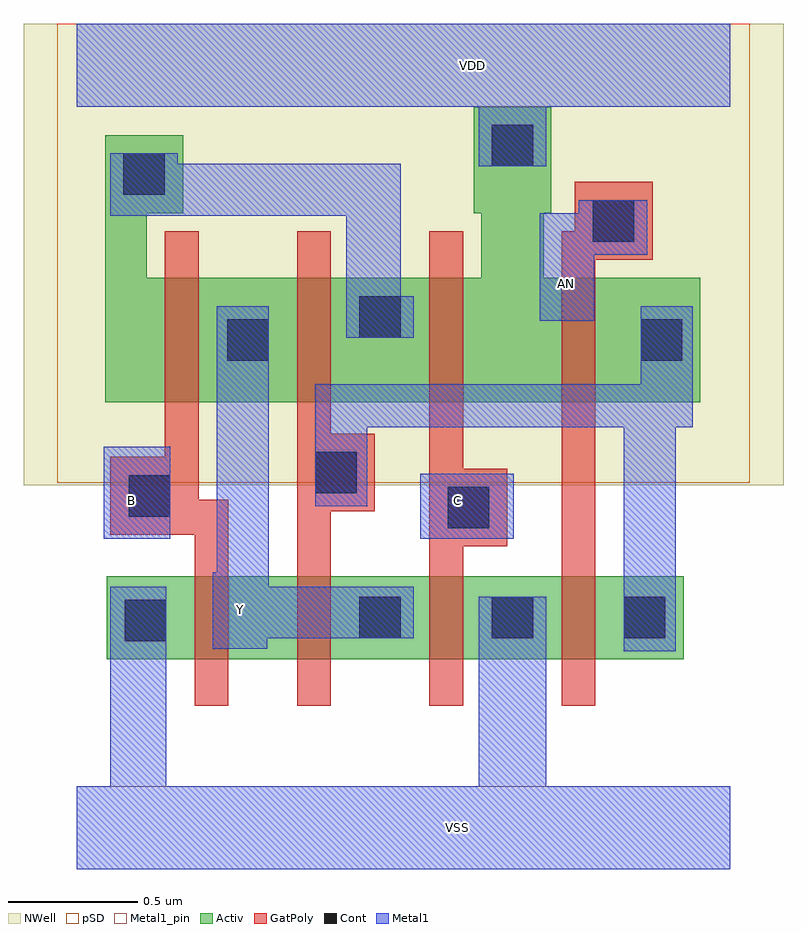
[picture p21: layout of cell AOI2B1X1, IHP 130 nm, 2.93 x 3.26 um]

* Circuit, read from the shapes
.subckt AOI2B1X1 AN B C VDD VSS Y
XM1 n1 B VSS VSUBS sg13_lv_nmos w=0.32u l=0.13u
XM2 Y n2 n1 VSUBS sg13_lv_nmos w=0.32u l=0.13u
XM3 VSS C Y VSUBS sg13_lv_nmos w=0.32u l=0.13u
XM4 n2 AN VSS VSUBS sg13_lv_nmos w=0.32u l=0.13u
XM5 Y B n3 n4 sg13_lv_pmos w=0.48u l=0.13u
XM6 n3 n2 Y n4 sg13_lv_pmos w=0.48u l=0.13u
XM7 VDD C n3 n4 sg13_lv_pmos w=0.48u l=0.13u
XM8 n2 AN VDD n4 sg13_lv_pmos w=0.48u l=0.13u
.ends

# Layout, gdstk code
import gdstk
lib = gdstk.Library(unit=1e-6, precision=1e-09)
def R(c, l, rs):  # rectangles x0, y0, x1, y1
    for r in rs: c.add(gdstk.rectangle(r[:2], r[2:], *l))
def A(c, l, x, y, w, h, nx, ny, dx, dy):  # array of equal rectangles
    R(c, l, [(x+i*dx, y+j*dy, x+i*dx+w, y+j*dy+h) for i in range(nx) for j in range(ny)])
def P(c, l, *ps):  # polygons
    for p in ps: c.add(gdstk.Polygon(p, *l))
Activ = (1, 0)
GatPoly = (5, 0)
Cont = (6, 0)
Metal1 = (8, 0)
Metal1_pin = (8, 2)
pSD = (14, 0)
NWell = (31, 0)

aoi2b1x1 = lib.new_cell('AOI2B1X1')
R(aoi2b1x1, Activ, [(0.115,0.65,2.34,0.97)])
P(aoi2b1x1, Activ, [(0.11,1.64),(0.11,2.67),(0.41,2.67),(0.41,2.37),(0.27,2.37),(0.27,2.12),(1.56,2.12),(1.56,2.37),(1.53,2.37),(1.53,2.78),(1.83,2.78),(1.83,2.37),(1.8,2.37),(1.8,2.12),(2.405,2.12),(2.405,1.64)])
P(aoi2b1x1, GatPoly, [(1.87,0.47),(1.87,2.3),(1.92,2.3),(1.92,2.49),(2.22,2.49),(2.22,2.19),(2,2.19),(2,0.47)],
  [(1.36,0.47),(1.36,2.3),(1.49,2.3),(1.49,1.385),(1.66,1.385),(1.66,1.085),(1.49,1.085),(1.49,0.47)],
  [(0.85,0.47),(0.85,2.3),(0.98,2.3),(0.98,1.52),(1.15,1.52),(1.15,1.22),(0.98,1.22),(0.98,0.47)],
  [(0.455,0.47),(0.455,1.13),(0.13,1.13),(0.13,1.43),(0.34,1.43),(0.34,2.3),(0.47,2.3),(0.47,1.265),(0.585,1.265),(0.585,0.47)])
A(aoi2b1x1, Cont, 1.09, 0.73, 0.16, 0.16, 3, 1, 0.51, 0)
R(aoi2b1x1, Cont, [(0.185,0.72,0.345,0.88), (1.43,1.155,1.59,1.315), (0.2,1.2,0.36,1.36), (0.92,1.29,1.08,1.45), (0.58,1.8,0.74,1.96), (2.175,1.8,2.335,1.96), (1.09,1.89,1.25,2.05), (1.99,2.26,2.15,2.42), (0.18,2.44,0.34,2.6), (1.6,2.55,1.76,2.71)])
R(aoi2b1x1, Metal1, [(0.105,1.115,0.36,1.47), (1.325,1.115,1.685,1.365)])
P(aoi2b1x1, Metal1, [(1.55,2.55),(1.55,2.78),(0,2.78),(0,3.1),(2.52,3.1),(2.52,2.78),(1.81,2.78),(1.81,2.55)],
  [(2.11,0.68),(2.11,1.545),(1.12,1.545),(1.12,1.24),(0.92,1.24),(0.92,1.71),(2.175,1.71),(2.175,2.01),(2.375,2.01),(2.375,1.545),(2.31,1.545),(2.31,0.68)],
  [(1.785,1.955),(1.785,2.37),(1.935,2.37),(1.935,2.42),(2.2,2.42),(2.2,2.21),(1.995,2.21),(1.995,1.955)],
  [(0.525,0.69),(0.525,0.985),(0.54,0.985),(0.54,2.01),(0.74,2.01),(0.74,0.93),(1.3,0.93),(1.3,0.73),(0.735,0.73),(0.735,0.69)],
  [(0,-0.16),(0,0.16),(0.13,0.16),(0.13,0.93),(0.345,0.93),(0.345,0.16),(1.55,0.16),(1.55,0.89),(1.81,0.89),(1.81,0.16),(2.52,0.16),(2.52,-0.16)],
  [(1.04,1.89),(1.04,2.36),(0.13,2.36),(0.13,2.6),(0.39,2.6),(0.39,2.56),(1.25,2.56),(1.25,2.05),(1.3,2.05),(1.3,1.89)])
R(aoi2b1x1, Metal1_pin, [(0,-0.16,2.52,0.16), (0.105,1.115,0.36,1.47), (1.325,1.115,1.685,1.365), (0,2.78,2.52,3.1)])
P(aoi2b1x1, Metal1_pin, [(1.785,1.955),(1.785,2.37),(1.935,2.37),(1.935,2.42),(2.2,2.42),(2.2,2.21),(1.995,2.21),(1.995,1.955)],
  [(0.525,0.69),(0.525,0.985),(0.54,0.985),(0.54,2.01),(0.74,2.01),(0.74,0.93),(1.3,0.93),(1.3,0.73),(0.735,0.73),(0.735,0.69)])
R(aoi2b1x1, pSD, [(-0.075,1.33,2.595,3.1)])
R(aoi2b1x1, NWell, [(-0.205,1.32,2.725,3.1)])
aoi2b1x1.add(gdstk.Label('VSS', (1.47,0), layer=8, texttype=25))
aoi2b1x1.add(gdstk.Label('VDD', (1.525,2.94), layer=8, texttype=25))
aoi2b1x1.add(gdstk.Label('C', (1.47,1.26), layer=8, texttype=25))
aoi2b1x1.add(gdstk.Label('AN', (1.89,2.1), layer=8, texttype=25))
aoi2b1x1.add(gdstk.Label('Y', (0.63,0.84), layer=8, texttype=25))
aoi2b1x1.add(gdstk.Label('B', (0.21,1.26), layer=8, texttype=25))

lib.write_gds('AOI2B1X1.gds')
